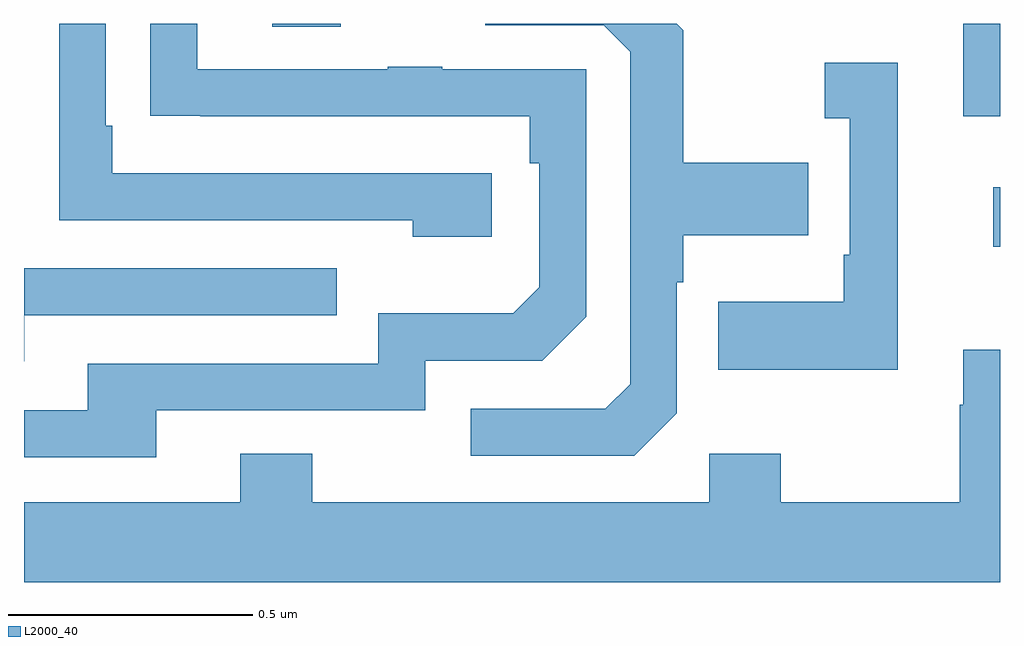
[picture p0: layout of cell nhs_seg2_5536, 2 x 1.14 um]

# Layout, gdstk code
import gdstk
lib = gdstk.Library(unit=1e-6, precision=1e-09)
def R(c, l, rs):  # rectangles x0, y0, x1, y1
    for r in rs: c.add(gdstk.rectangle(r[:2], r[2:], *l))
def P(c, l, *ps):  # polygons
    for p in ps: c.add(gdstk.Polygon(p, *l))
L2000_40 = (2000, 40)

nhs_seg2_5536 = lib.new_cell('nhs_seg2_5536')
R(nhs_seg2_5536, L2000_40, [(181.986,628.343,182,628.465), (181.925,628.611,182,628.8), (180.509,628.794,180.649,628.8)])
P(nhs_seg2_5536, L2000_40, [(180.958,628.494),(180.181,628.494),(180.181,628.591),(180.168,628.591),(180.168,628.8),(180.072,628.8),(180.072,628.398),(180.797,628.398),(180.797,628.364),(180.958,628.364)],
  [(180.271,628.008),(180.822,628.008),(180.822,628.11),(181.062,628.11),(181.152,628.2),(181.152,628.707),(180.857,628.707),(180.857,628.712),(180.745,628.712),(180.745,628.707),(180.355,628.707),(180.355,628.8),(180.259,628.8),(180.259,628.612),(180.361,628.612),(180.361,628.611),(181.036,628.611),(181.036,628.514),(181.056,628.514),(181.056,628.26),(181.003,628.207),(180.726,628.207),(180.726,628.104),(180.131,628.104),(180.131,628.008),(180,628.008),(180,627.912),(180.271,627.912)],
  [(181.338,628.002),(181.338,628.271),(181.351,628.271),(181.351,628.367),(181.607,628.367),(181.607,628.515),(181.351,628.515),(181.351,628.787),(181.338,628.8),(180.945,628.8),(180.945,628.797),(181.188,628.797),(181.242,628.743),(181.242,628.062),(181.191,628.011),(180.915,628.011),(180.915,627.915),(181.251,627.915)],
  [(181.79,628.72),(181.641,628.72),(181.641,628.607),(181.692,628.607),(181.692,628.327),(181.68,628.327),(181.68,628.231),(181.423,628.231),(181.423,628.091),(181.79,628.091)],
  [(180.001,628.203),(180.641,628.203),(180.641,628.299),(180,628.299),(180,628.109),(180.001,628.109)],
  [(182,628.132),(181.925,628.132),(181.925,628.019),(181.918,628.019),(181.918,627.82),(181.551,627.82),(181.551,627.919),(181.404,627.919),(181.404,627.82),(180.591,627.82),(180.591,627.919),(180.443,627.919),(180.443,627.82),(180,627.82),(180,627.656),(182,627.656)])

lib.write_gds('nhs_seg2_5536.gds')
